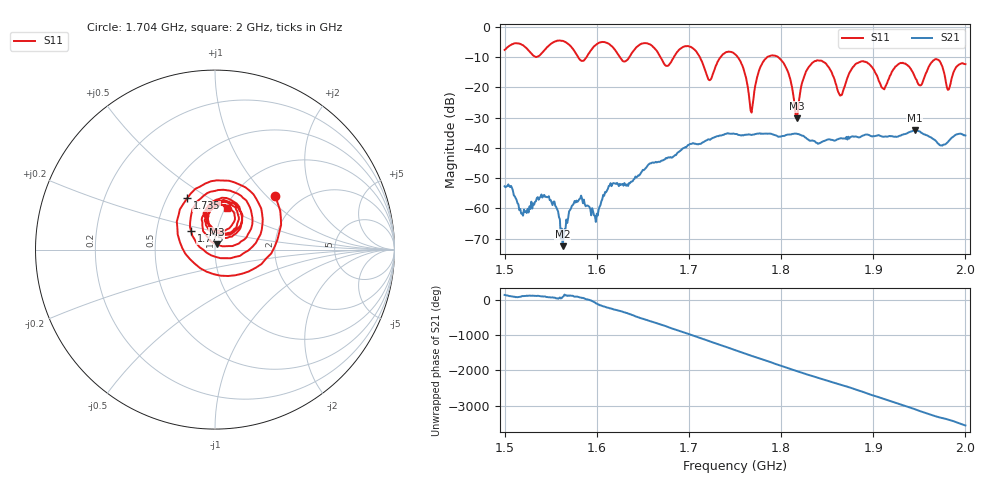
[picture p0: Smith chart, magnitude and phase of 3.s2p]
! NanoVNA-App by SYSJOINT et al v1.1.209 (+OD18)
! Date: 2026-01-21 14:46:26
! Start: 1,5GHz Stop: 2GHz Points: 501
! S-Parameter data: F S11 S21 S12 S22
# Hz S RI R 50
!  Frequency  S11_Real  S11_Imag  S21_Real  S21_Imag  S12_Real  S12_Imag  S22_Real  S22_Imag
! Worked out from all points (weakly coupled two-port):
!   501 points, 1.5 GHz to 2 GHz, reference 50 ohm
!   highest |S21| = -34.19 dB at 1.945 GHz (marker M1); lowest = -72.5 dB at 1.563 GHz (marker M2)
!   lowest |S11| = -30.3 dB at 1.817 GHz (marker M3), VSWR 1.06, Z = 50.8 + j2.99 ohm
!   |S11| at or under -10 dB: 1.712 GHz to 1.734 GHz (22.49 MHz wide, 1.31 % of centre); 1.753 GHz to 1.785 GHz (31.9 MHz wide, 1.8 % of centre); 1.797 GHz to end of sweep (the widest 3 of 6)
!   S12 and S22 are empty: the file has one direction only
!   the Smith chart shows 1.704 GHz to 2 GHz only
!   S11 on the Smith chart (normalised r, x): 1.704 GHz: 1.51, +1.12; 1.735 GHz: 0.63, +0.40; 1.775 GHz: 0.75, +0.16; 2 GHz: 1.01, +0.50
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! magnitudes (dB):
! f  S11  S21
! 1.5 GHz  -7.6  -52.7
! 1.518 GHz  -5.8  -61.7
! 1.548 GHz  -6.2  -56.0
! 1.563 GHz  -4.6  -72.5
! 1.584 GHz  -11.2  -56.8
! 1.599 GHz  -5.9  -64.5
! 1.667 GHz  -8.9  -44.6
! 1.704 GHz  -7.0  -38.5
! 1.722 GHz  -17.6  -37.2
! 1.735 GHz  -9.8  -35.9
! 1.75 GHz  -9.0  -35.4
! 1.768 GHz  -28.3  -35.7
! 1.775 GHz  -15.5  -35.3
! 1.799 GHz  -10.6  -36.3
! 1.817 GHz  -30.3  -35.3
! 1.834 GHz  -11.8  -37.5
! 1.864 GHz  -22.7  -36.9
! 1.886 GHz  -11.5  -36.4
! 1.917 GHz  -17.1  -36.1
! 1.945 GHz  -16.4  -34.2
! 1.982 GHz  -20.7  -37.7
! 2 GHz  -12.3  -35.9
